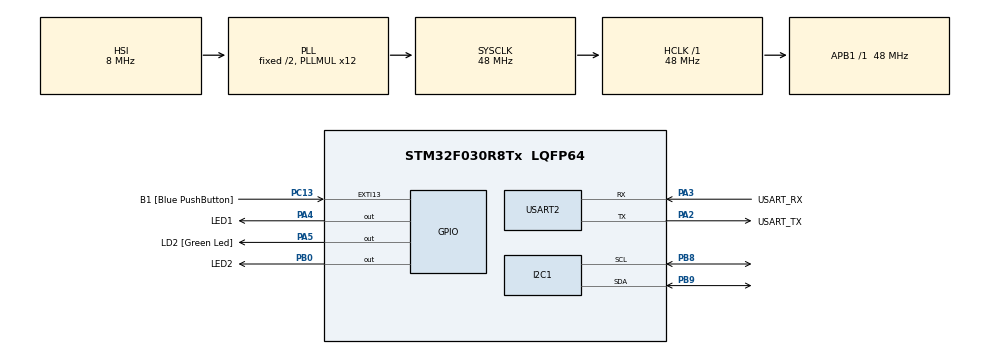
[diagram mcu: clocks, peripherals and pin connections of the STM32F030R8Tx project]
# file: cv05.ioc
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Dma.Request0=USART2_RX
Dma.USART2_RX.0.Direction=DMA_PERIPH_TO_MEMORY
Dma.USART2_RX.0.Instance=DMA1_Channel5
Dma.USART2_RX.0.MemDataAlignment=DMA_MDATAALIGN_BYTE
Dma.USART2_RX.0.MemInc=DMA_MINC_ENABLE
Dma.USART2_RX.0.Mode=DMA_CIRCULAR
Dma.USART2_RX.0.PeriphDataAlignment=DMA_PDATAALIGN_BYTE
Dma.USART2_RX.0.PeriphInc=DMA_PINC_DISABLE
Dma.USART2_RX.0.Priority=DMA_PRIORITY_LOW
Mcu.Family=STM32F0
Mcu.Name=STM32F030R8Tx
Mcu.Package=LQFP64
NVIC.DMA1_Channel4_5_IRQn=true\:0\:0\:false\:false\:true\:false\:true
PA13.GPIO_Label=TMS
PA13.Mode=Serial_Wire
PA13.Signal=SYS_SWDIO
PA14.GPIO_Label=TCK
PA14.Mode=Serial_Wire
PA14.Signal=SYS_SWCLK
PA2.GPIO_Label=USART_TX
PA2.GPIO_Mode=GPIO_MODE_AF_PP
PA2.GPIO_PuPd=GPIO_NOPULL
PA2.GPIO_Speed=GPIO_SPEED_FREQ_LOW
PA2.Mode=Asynchronous
PA2.Signal=USART2_TX
PA3.GPIO_Label=USART_RX
PA3.GPIO_Mode=GPIO_MODE_AF_PP
PA3.GPIO_PuPd=GPIO_NOPULL
PA3.GPIO_Speed=GPIO_SPEED_FREQ_LOW
PA3.Mode=Asynchronous
PA3.Signal=USART2_RX
PA4.GPIO_Label=LED1
PA4.Signal=GPIO_Output
PA5.GPIO_Label=LD2 [Green Led]
PA5.GPIO_Mode=GPIO_MODE_OUTPUT_PP
PA5.GPIO_PuPd=GPIO_NOPULL
PA5.GPIO_Speed=GPIO_SPEED_FREQ_LOW
PA5.Signal=GPIO_Output
PB0.GPIO_Label=LED2
PB0.Signal=GPIO_Output
PB8.Mode=I2C
PB8.Signal=I2C1_SCL
PB9.Mode=I2C
PB9.Signal=I2C1_SDA
PC13.GPIO_Label=B1 [Blue PushButton]
PC13.GPIO_ModeDefaultEXTI=GPIO_MODE_IT_FALLING
PC13.Signal=GPXTI13
PC14-OSC32_IN.Mode=LSE-External-Oscillator
PC14-OSC32_IN.Signal=RCC_OSC32_IN
PC15-OSC32_OUT.Mode=LSE-External-Oscillator
PC15-OSC32_OUT.Signal=RCC_OSC32_OUT
PF0-OSC_IN.Mode=HSE-External-Clock-Source
PF0-OSC_IN.Signal=RCC_OSC_IN
PF1-OSC_OUT.Signal=RCC_OSC_OUT
ProjectManager.HeapSize=0x200
ProjectManager.StackSize=0x400
ProjectManager.TargetToolchain=STM32CubeIDE
RCC.AHBFreq_Value=48000000
RCC.APB1Freq_Value=48000000
RCC.APB1TimFreq_Value=48000000
RCC.HCLKFreq_Value=48000000
RCC.PLLMUL=RCC_PLL_MUL12
RCC.SYSCLKFreq_VALUE=48000000
RCC.SYSCLKSource=RCC_SYSCLKSOURCE_PLLCLK
USART2.VirtualMode-Asynchronous=VM_ASYNC
board=NUCLEO-F030R8

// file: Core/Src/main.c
/* USER CODE BEGIN Header */
/**
  ******************************************************************************
  * @file           : main.c
  * @brief          : Main program body
  ******************************************************************************
  * @attention
  *
  * <h2><center>&copy; Copyright (c) 2020 STMicroelectronics.
  * All rights reserved.</center></h2>
  *
  * This software component is licensed by ST under BSD 3-Clause license,
  * the "License"; You may not use this file except in compliance with the
  * License. You may obtain a copy of the License at:
  *                        opensource.org/licenses/BSD-3-Clause
  *
  ******************************************************************************
  */
/* USER CODE END Header */
#include "main.h"

/* USER CODE BEGIN Includes */

#include <stdio.h>
#include <string.h>

/* USER CODE END Includes */

I2C_HandleTypeDef hi2c1;

UART_HandleTypeDef huart2;
DMA_HandleTypeDef hdma_usart2_rx;

/* USER CODE BEGIN PV */

#define EEPROM_ADDR 0xA0

#define CMD_BUFFER_LEN 64
#define RX_BUFFER_LEN 64
static uint8_t uart_rx_buf[RX_BUFFER_LEN];
static volatile uint16_t uart_rx_read_ptr = 0;
#define uart_rx_write_ptr (RX_BUFFER_LEN - hdma_usart2_rx.Instance->CNDTR)

/* USER CODE END PV */

void SystemClock_Config(void);
static void MX_GPIO_Init(void);
static void MX_DMA_Init(void);
static void MX_USART2_UART_Init(void);
static void MX_I2C1_Init(void);
/* USER CODE BEGIN PFP */

int _write(int file, char const *buf, int n)			//presmerovani write(printfu) do uartu
{
	/* stdout redirection to UART2 */
	HAL_UART_Transmit(&huart2, (uint8_t*)(buf), n, HAL_MAX_DELAY);
	return n;
}

static void uart_process_command(char *cmd)
{
//	printf("prijato: '%s'\n", cmd);

	char *token;
	token = strtok(cmd, " ");

	if (strcasecmp(token, "HELLO") == 0)
	{
		printf("Komunikace OK\n");
	}
	else if (strcasecmp(token, "LED1") == 0)
	{
		token = strtok(NULL, " ");
		if (strcasecmp(token, "ON") == 0) HAL_GPIO_WritePin(LED1_GPIO_Port, LED1_Pin, GPIO_PIN_SET);
		else if (strcasecmp(token, "OFF") == 0) HAL_GPIO_WritePin(LED1_GPIO_Port, LED1_Pin, GPIO_PIN_RESET);
		printf("OK\n");
	}
	else if (strcasecmp(token, "LED2") == 0)
		{
			token = strtok(NULL, " ");
			if (strcasecmp(token, "ON") == 0) HAL_GPIO_WritePin(LED2_GPIO_Port, LED2_Pin, GPIO_PIN_SET);
			else if (strcasecmp(token, "OFF") == 0) HAL_GPIO_WritePin(LED2_GPIO_Port, LED2_Pin, GPIO_PIN_RESET);
			printf("OK\n");
		}
	else if (strcasecmp(token, "STATUS") == 0)
	{
		if (HAL_GPIO_ReadPin(LED1_GPIO_Port, LED1_Pin)) printf("LED1 ON; ");
		else printf("LED1 OFF; ");

		if (HAL_GPIO_ReadPin(LED2_GPIO_Port, LED2_Pin)) printf("LED2 ON\n");
		else printf("LED2 OFF\n");
	}
	else if (strcasecmp(token, "READ") == 0)
	{
		token = strtok(NULL, " ");
		uint16_t addr = atoi(token);
		uint8_t value;

		HAL_I2C_Mem_Read(&hi2c1, EEPROM_ADDR, addr, I2C_MEMADD_SIZE_16BIT, &value, 1, 1000);

		printf("Adresa 0x%04X = 0x%02X\n", addr, value);
	}
	else if (strcasecmp(token, "WRITE") == 0)
	{
		token = strtok(NULL, " ");
		uint16_t addr = atoi(token);
		token = strtok(NULL, " ");
		uint8_t value = atoi(token);

		HAL_I2C_Mem_Write(&hi2c1, EEPROM_ADDR, addr, I2C_MEMADD_SIZE_16BIT, &value, 1, 1000);
		while (HAL_I2C_IsDeviceReady(&hi2c1, EEPROM_ADDR, 300, 1000) == HAL_TIMEOUT) {}

		printf("WRITE OK\n");
	}
	else if (strcasecmp(token, "DUMP") == 0)
	{
		uint8_t value0;
		uint8_t value1;
		uint8_t value2;
		uint8_t value3;
		uint8_t value4;
		uint8_t value5;
		uint8_t value6;
		uint8_t value7;
		uint8_t value8;
		uint8_t value9;
		uint8_t valueA;
		uint8_t valueB;
		uint8_t valueC;
		uint8_t valueD;
		uint8_t valueE;
		uint8_t valueF;

		HAL_I2C_Mem_Read(&hi2c1, EEPROM_ADDR, 0x0000, I2C_MEMADD_SIZE_16BIT, &value0, 1, 1000);
		HAL_I2C_Mem_Read(&hi2c1, EEPROM_ADDR, 0x0001, I2C_MEMADD_SIZE_16BIT, &value1, 1, 1000);
		HAL_I2C_Mem_Read(&hi2c1, EEPROM_ADDR, 0x0002, I2C_MEMADD_SIZE_16BIT, &value2, 1, 1000);
		HAL_I2C_Mem_Read(&hi2c1, EEPROM_ADDR, 0x0003, I2C_MEMADD_SIZE_16BIT, &value3, 1, 1000);
		HAL_I2C_Mem_Read(&hi2c1, EEPROM_ADDR, 0x0004, I2C_MEMADD_SIZE_16BIT, &value4, 1, 1000);
		HAL_I2C_Mem_Read(&hi2c1, EEPROM_ADDR, 0x0005, I2C_MEMADD_SIZE_16BIT, &value5, 1, 1000);
		HAL_I2C_Mem_Read(&hi2c1, EEPROM_ADDR, 0x0006, I2C_MEMADD_SIZE_16BIT, &value6, 1, 1000);
		HAL_I2C_Mem_Read(&hi2c1, EEPROM_ADDR, 0x0007, I2C_MEMADD_SIZE_16BIT, &value7, 1, 1000);
		HAL_I2C_Mem_Read(&hi2c1, EEPROM_ADDR, 0x0008, I2C_MEMADD_SIZE_16BIT, &value8, 1, 1000);
		HAL_I2C_Mem_Read(&hi2c1, EEPROM_ADDR, 0x0009, I2C_MEMADD_SIZE_16BIT, &value9, 1, 1000);
		HAL_I2C_Mem_Read(&hi2c1, EEPROM_ADDR, 0x000A, I2C_MEMADD_SIZE_16BIT, &valueA, 1, 1000);
		HAL_I2C_Mem_Read(&hi2c1, EEPROM_ADDR, 0x000B, I2C_MEMADD_SIZE_16BIT, &valueB, 1, 1000);
		HAL_I2C_Mem_Read(&hi2c1, EEPROM_ADDR, 0x000C, I2C_MEMADD_SIZE_16BIT, &valueC, 1, 1000);
		HAL_I2C_Mem_Read(&hi2c1, EEPROM_ADDR, 0x000D, I2C_MEMADD_SIZE_16BIT, &valueD, 1, 1000);
		HAL_I2C_Mem_Read(&hi2c1, EEPROM_ADDR, 0x000E, I2C_MEMADD_SIZE_16BIT, &valueE, 1, 1000);
		HAL_I2C_Mem_Read(&hi2c1, EEPROM_ADDR, 0x000F, I2C_MEMADD_SIZE_16BIT, &valueF, 1, 1000);

		printf("0x%02X 0x%02X 0x%02X 0x%02X 0x%02X 0x%02X 0x%02X 0x%02X\n", value0, value1, value2, value3, value4, value5, value6, value7);
		printf("0x%02X 0x%02X 0x%02X 0x%02X 0x%02X 0x%02X 0x%02X 0x%02X\n", value8, value9, valueA, valueB, valueC, valueD, valueE, valueF);
	}

	else
	{
		printf("Neplatny prikaz\n");
	}
}

static void uart_byte_available(uint8_t c)
{
	static uint16_t cnt;
	static char data[CMD_BUFFER_LEN];
	if (cnt < CMD_BUFFER_LEN && c >= 32 && c <= 126) data[cnt++] = c;
	if ((c == '\n' || c == '\r') && cnt > 0)
	{
		data[cnt] = '\0';
		uart_process_command(data);
		cnt = 0;
	}
}

/* USER CODE END PFP */

int main(void)
{

  /* MCU Configuration--------------------------------------------------------*/

  /* Reset of all peripherals, Initializes the Flash interface and the Systick. */
  HAL_Init();

  /* Configure the system clock */
  SystemClock_Config();

  /* Initialize all configured peripherals */
  MX_GPIO_Init();
  MX_DMA_Init();
  MX_USART2_UART_Init();
  MX_I2C1_Init();
  /* USER CODE BEGIN 2 */

  HAL_UART_Receive_DMA(&huart2, uart_rx_buf, RX_BUFFER_LEN);

  /* USER CODE END 2 */

  /* Infinite loop */
  while (1)
  {

    /* USER CODE BEGIN 3 */

	  while(uart_rx_read_ptr != uart_rx_write_ptr)	//zpracovani jednotlivych bajtu z bufferu
	  {
		  uint8_t b = uart_rx_buf[uart_rx_read_ptr];
		  if(++uart_rx_read_ptr >= RX_BUFFER_LEN) uart_rx_read_ptr = 0;

		  uart_byte_available(b);
	  }

/*	  uint8_t c;
	  HAL_UART_Receive(&huart2, &c, 1, HAL_MAX_DELAY);
	  HAL_UART_Transmit(&huart2, &c, 1, HAL_MAX_DELAY);
*/

  }
  /* USER CODE END 3 */
}

void SystemClock_Config(void)
{
  RCC_OscInitTypeDef RCC_OscInitStruct = {0};
  RCC_ClkInitTypeDef RCC_ClkInitStruct = {0};
  RCC_PeriphCLKInitTypeDef PeriphClkInit = {0};

  /** Initializes the RCC Oscillators according to the specified parameters
  * in the RCC_OscInitTypeDef structure.
  */
  RCC_OscInitStruct.OscillatorType = RCC_OSCILLATORTYPE_HSI;
  RCC_OscInitStruct.HSIState = RCC_HSI_ON;
  RCC_OscInitStruct.HSICalibrationValue = RCC_HSICALIBRATION_DEFAULT;
  RCC_OscInitStruct.PLL.PLLState = RCC_PLL_ON;
  RCC_OscInitStruct.PLL.PLLSource = RCC_PLLSOURCE_HSI;
  RCC_OscInitStruct.PLL.PLLMUL = RCC_PLL_MUL12;
  RCC_OscInitStruct.PLL.PREDIV = RCC_PREDIV_DIV1;
  if (HAL_RCC_OscConfig(&RCC_OscInitStruct) != HAL_OK)
  {
    Error_Handler();
  }
  /** Initializes the CPU, AHB and APB buses clocks
  */
  RCC_ClkInitStruct.ClockType = RCC_CLOCKTYPE_HCLK|RCC_CLOCKTYPE_SYSCLK
                              |RCC_CLOCKTYPE_PCLK1;
  RCC_ClkInitStruct.SYSCLKSource = RCC_SYSCLKSOURCE_PLLCLK;
  RCC_ClkInitStruct.AHBCLKDivider = RCC_SYSCLK_DIV1;
  RCC_ClkInitStruct.APB1CLKDivider = RCC_HCLK_DIV1;

  if (HAL_RCC_ClockConfig(&RCC_ClkInitStruct, FLASH_LATENCY_1) != HAL_OK)
  {
    Error_Handler();
  }
  PeriphClkInit.PeriphClockSelection = RCC_PERIPHCLK_I2C1;
  PeriphClkInit.I2c1ClockSelection = RCC_I2C1CLKSOURCE_HSI;
  if (HAL_RCCEx_PeriphCLKConfig(&PeriphClkInit) != HAL_OK)
  {
    Error_Handler();
  }
}

static void MX_I2C1_Init(void)
{

  hi2c1.Instance = I2C1;
  hi2c1.Init.Timing = 0x2000090E;
  hi2c1.Init.OwnAddress1 = 0;
  hi2c1.Init.AddressingMode = I2C_ADDRESSINGMODE_7BIT;
  hi2c1.Init.DualAddressMode = I2C_DUALADDRESS_DISABLE;
  hi2c1.Init.OwnAddress2 = 0;
  hi2c1.Init.OwnAddress2Masks = I2C_OA2_NOMASK;
  hi2c1.Init.GeneralCallMode = I2C_GENERALCALL_DISABLE;
  hi2c1.Init.NoStretchMode = I2C_NOSTRETCH_DISABLE;
  if (HAL_I2C_Init(&hi2c1) != HAL_OK)
  {
    Error_Handler();
  }
  /** Configure Analogue filter
  */
  if (HAL_I2CEx_ConfigAnalogFilter(&hi2c1, I2C_ANALOGFILTER_ENABLE) != HAL_OK)
  {
    Error_Handler();
  }
  /** Configure Digital filter
  */
  if (HAL_I2CEx_ConfigDigitalFilter(&hi2c1, 0) != HAL_OK)
  {
    Error_Handler();
  }

}

static void MX_USART2_UART_Init(void)
{

  huart2.Instance = USART2;
  huart2.Init.BaudRate = 38400;
  huart2.Init.WordLength = UART_WORDLENGTH_8B;
  huart2.Init.StopBits = UART_STOPBITS_1;
  huart2.Init.Parity = UART_PARITY_NONE;
  huart2.Init.Mode = UART_MODE_TX_RX;
  huart2.Init.HwFlowCtl = UART_HWCONTROL_NONE;
  huart2.Init.OverSampling = UART_OVERSAMPLING_16;
  huart2.Init.OneBitSampling = UART_ONE_BIT_SAMPLE_DISABLE;
  huart2.AdvancedInit.AdvFeatureInit = UART_ADVFEATURE_NO_INIT;
  if (HAL_UART_Init(&huart2) != HAL_OK)
  {
    Error_Handler();
  }

}

static void MX_DMA_Init(void)
{

  /* DMA controller clock enable */
  __HAL_RCC_DMA1_CLK_ENABLE();

  /* DMA interrupt init */
  /* DMA1_Channel4_5_IRQn interrupt configuration */
  HAL_NVIC_SetPriority(DMA1_Channel4_5_IRQn, 0, 0);
  HAL_NVIC_EnableIRQ(DMA1_Channel4_5_IRQn);

}

static void MX_GPIO_Init(void)
{
  GPIO_InitTypeDef GPIO_InitStruct = {0};

  /* GPIO Ports Clock Enable */
  __HAL_RCC_GPIOC_CLK_ENABLE();
  __HAL_RCC_GPIOF_CLK_ENABLE();
  __HAL_RCC_GPIOA_CLK_ENABLE();
  __HAL_RCC_GPIOB_CLK_ENABLE();

  /*Configure GPIO pin Output Level */
  HAL_GPIO_WritePin(GPIOA, LED1_Pin|LD2_Pin, GPIO_PIN_RESET);

  /*Configure GPIO pin Output Level */
  HAL_GPIO_WritePin(LED2_GPIO_Port, LED2_Pin, GPIO_PIN_RESET);

  /*Configure GPIO pin : B1_Pin */
  GPIO_InitStruct.Pin = B1_Pin;
  GPIO_InitStruct.Mode = GPIO_MODE_IT_FALLING;
  GPIO_InitStruct.Pull = GPIO_NOPULL;
  HAL_GPIO_Init(B1_GPIO_Port, &GPIO_InitStruct);

  /*Configure GPIO pins : LED1_Pin LD2_Pin */
  GPIO_InitStruct.Pin = LED1_Pin|LD2_Pin;
  GPIO_InitStruct.Mode = GPIO_MODE_OUTPUT_PP;
  GPIO_InitStruct.Pull = GPIO_NOPULL;
  GPIO_InitStruct.Speed = GPIO_SPEED_FREQ_LOW;
  HAL_GPIO_Init(GPIOA, &GPIO_InitStruct);

  /*Configure GPIO pin : LED2_Pin */
  GPIO_InitStruct.Pin = LED2_Pin;
  GPIO_InitStruct.Mode = GPIO_MODE_OUTPUT_PP;
  GPIO_InitStruct.Pull = GPIO_NOPULL;
  GPIO_InitStruct.Speed = GPIO_SPEED_FREQ_LOW;
  HAL_GPIO_Init(LED2_GPIO_Port, &GPIO_InitStruct);

}

void Error_Handler(void)
{
}

/************************ (C) COPYRIGHT STMicroelectronics *****END OF FILE****/
